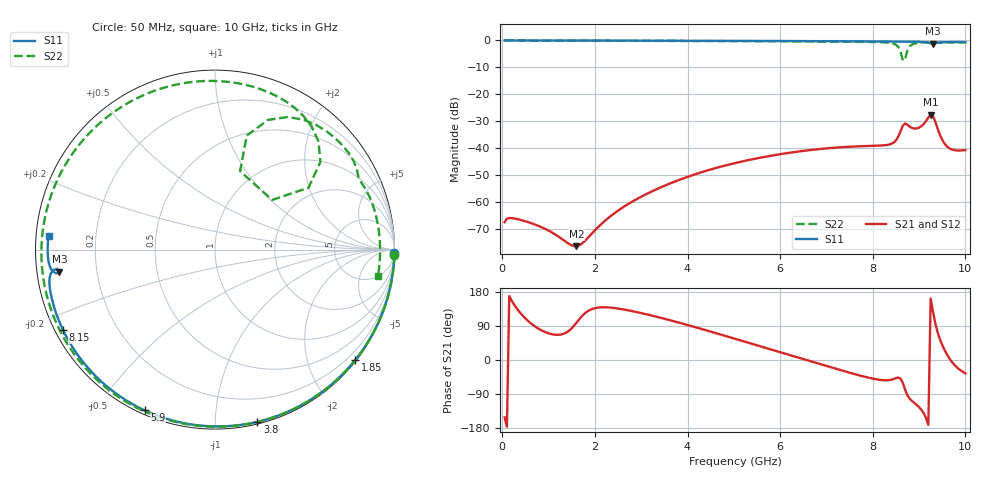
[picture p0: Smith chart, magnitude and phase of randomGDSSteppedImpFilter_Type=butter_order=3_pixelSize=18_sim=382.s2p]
! freq	dB(S11)	phase(S11)	dB(S12)	phase(S12)
!  dB(S21)	phase(S21)	dB(S22)	phase(S22)
!S-par simulation data
#  GHz  S  DB  R 50
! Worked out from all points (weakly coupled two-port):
!   200 points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, 50 MHz to 10 GHz, reference 50 ohm
!   highest |S21| = -27.59 dB at 9.25 GHz (marker M1); lowest = -76.3 dB at 1.6 GHz (marker M2)
!   lowest |S11| = -1.2 dB at 9.3 GHz (marker M3), VSWR 15.11, Z = 3.33 - j3.49 ohm
!   |S11| at or under -10 dB: nowhere
!   |S22| runs from -7.5 to 0.0 dB; largest |S21 - S12| = 0
!   S11 on the Smith chart (normalised r, x): 50 MHz: open; 1.85 GHz: 0.03, -2.87; 3.8 GHz: 0.02, -1.28; 5.9 GHz: 0.02, -0.65; 8.15 GHz: 0.02, -0.25; 10 GHz: 0.04, +0.04
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0.05  -0.00 -1.1  -67.44 -151.4  -67.44 -151.4  -0.00 -1.7
0.6  -0.01 -12.6  -67.64 98.4  -67.64 98.4  -0.02 -20.0
1.6  -0.04 -33.3  -76.31 98.1  -76.31 98.1  -0.07 -52.5
1.75  -0.05 -36.3  -74.91 119.5  -74.91 119.5  -0.07 -57.2
1.85  -0.05 -38.4  -73.20 129.2  -73.20 129.2  -0.08 -60.4
2.5  -0.07 -51.3  -63.12 135.8  -63.12 135.8  -0.10 -80.7
3.4  -0.09 -68.7  -54.66 112.0  -54.66 112.0  -0.14 -108.0
3.8  -0.10 -76.2  -51.85 99.1  -51.85 99.1  -0.16 -120.1
5.05  -0.15 -98.8  -45.39 55.1  -45.39 55.1  -0.24 -158.5
5.9  -0.20 -113.6  -42.48 24.2  -42.48 24.2  -0.31 173.3
6.7  -0.25 -127.3  -40.55 -4.9  -40.55 -4.9  -0.39 143.4
7.5  -0.31 -141.0  -39.42 -33.6  -39.42 -33.6  -0.48 108.6
8.15  -0.37 -152.2  -39.01 -52.4  -39.01 -52.4  -0.64 74.4
8.35  -0.40 -155.8  -38.63 -53.1  -38.63 -53.1  -0.85 60.7
8.55  -0.42 -159.4  -35.71 -46.3  -35.71 -46.3  -2.34 39.7
8.65  -0.44 -161.2  -31.60 -60.6  -31.60 -60.6  -7.50 41.0
8.7  -0.44 -162.2  -30.80 -78.7  -30.80 -78.7  -6.77 72.3
8.85  -0.47 -165.0  -32.48 -108.5  -32.48 -108.5  -1.49 61.3
9.25  -1.06 -173.1  -27.59 161.9  -27.59 161.9  -0.86 29.1
9.3  -1.15 -172.0  -28.00 128.0  -28.00 128.0  -0.96 26.7
9.6  -0.62 -176.6  -39.28 14.9  -39.28 14.9  -0.75 11.4
10  -0.62 175.2  -40.65 -35.2  -40.65 -35.2  -0.72 -9.1
